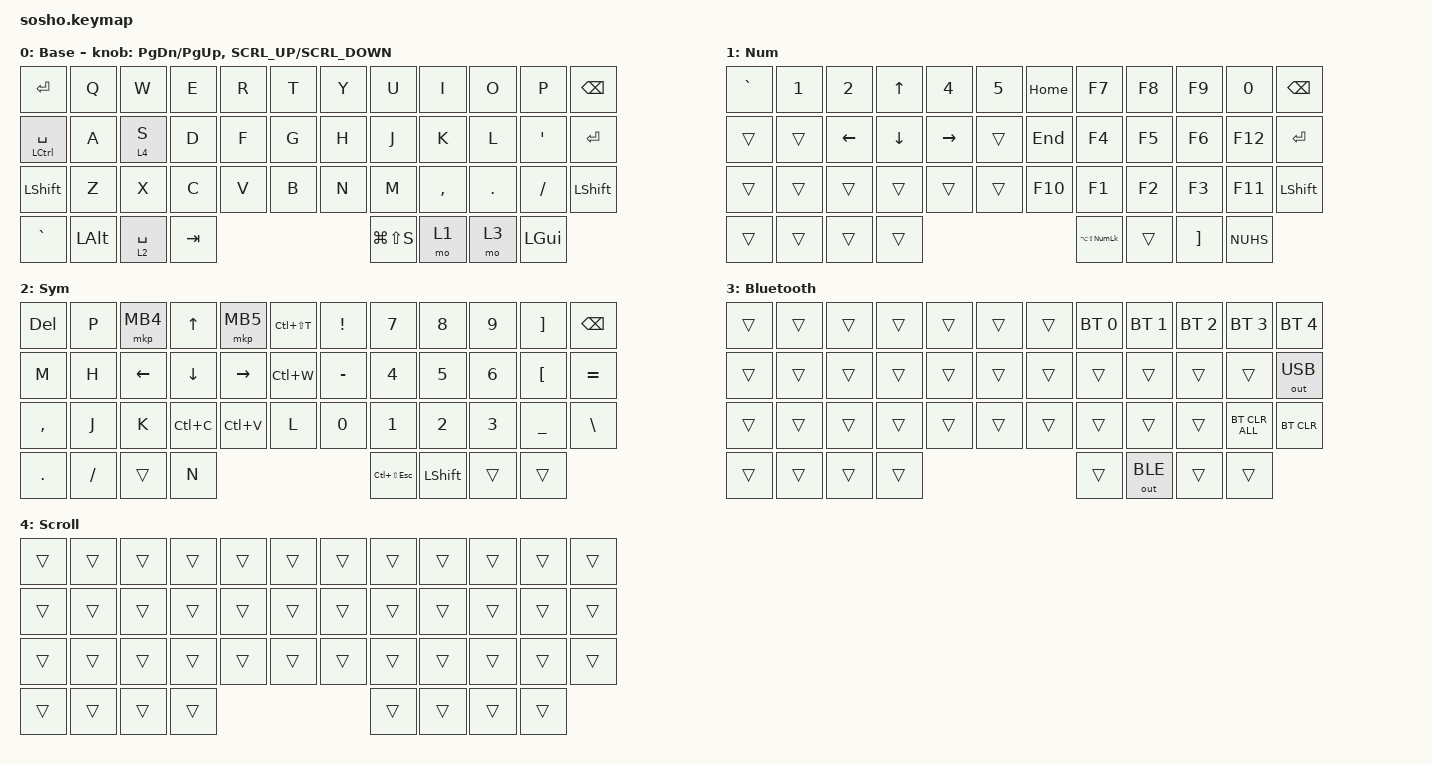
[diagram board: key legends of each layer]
//スクロール量の調整(デフォルト150)
#define ZMK_POINTING_DEFAULT_SCRL_VAL 150
#define SCROLL 4

#include <behaviors.dtsi>
#include <dt-bindings/zmk/bt.h>
#include <dt-bindings/zmk/keys.h>
#include <dt-bindings/zmk/pointing.h>
#include <dt-bindings/zmk/outputs.h>
#include <dt-bindings/zmk/mouse.h>
#include <input/processors.dtsi>

/ {
    behaviors {
        //エンコーダにスクロールを割り当てるためのビヘイビア
        msc_ec_l: sensor_rotation_scroll_L {
            compatible = "zmk,behavior-sensor-rotate-var";
            #sensor-binding-cells = <2>;
            bindings = <&msc>, <&msc>;
            tap-ms = <20>;
        };
        msc_ec_r: sensor_rotation_scroll_R {
            compatible = "zmk,behavior-sensor-rotate-var";
            #sensor-binding-cells = <2>;
            bindings = <&msc>, <&msc>;
            tap-ms = <20>;
        };
    };
};

//スクロールの調整
&msc {
    time-to-max-speed-ms = <0>;   // 即座に最大速度（加速なし）
    acceleration-exponent = <0>;   // 加速なし
};

/ {
    combos {
        compatible = "zmk,combos";
        // prioritize-longer-keys; // ZMKの標準機能にはない記述のため、エラー防止でコメントアウトしています

        //左クリックのコンボ 19 J 20 K
        combo_LCLK_1 {
            timeout-ms = <50>;
            key-positions = <19 20>;
            bindings = <&mkp LCLK>;
        };

        //左クリックのコンボ 15 D 16 F
        combo_LCLK_2 {
            timeout-ms = <50>;
            key-positions = <15 16>;
            bindings = <&mkp LCLK>;
        };

        //右クリックのコンボ 20 K 21 L
        combo_RCLK_1 {
            timeout-ms = <50>;
            key-positions = <20 21>;
            bindings = <&mkp RCLK>;
        };

        //右クリックのコンボ 14 S 15 F
        combo_RCLK_2 {
            timeout-ms = <50>;
            key-positions = <14 15>;
            bindings = <&mkp RCLK>;
        };

        //ホイールクリックのコンボ 19 J 21 L
        combo_MCLK_1 {
            timeout-ms = <90>;
            key-positions = <19 21>;
            bindings = <&mkp MCLK>;
        };

        //ホイールクリックのコンボ 14 S 16 F
        combo_MCLK_2 {
            timeout-ms = <90>;
            key-positions = <14 16>;
            bindings = <&mkp MCLK>;
        };
        
        // 3番と4番のキー同時押しで「Y」を入力するコンボ
        combo_Y {
            timeout-ms = <90>;
            key-positions = <3 4>;
            bindings = <&kp Y>;
        };

        // 27番と28番のキー同時押しで「U」を入力するコンボ
        combo_U {
            timeout-ms = <90>;
            key-positions = <27 28>;
            bindings = <&kp U>;
        };

        // 2番と4番のキー同時押しで「I」を入力するコンボ
        combo_I {
            timeout-ms = <90>;
            key-positions = <2 4>;
            bindings = <&kp I>;
        };

        // 26番と28番のキー同時押しで「O」を入力するコンボ
        combo_O {
            timeout-ms = <90>;
            key-positions = <26 28>;
            bindings = <&kp O>;
        };

        // 2番と3番のキー同時押しで「0」を入力するコンボ
        combo_0 {
            timeout-ms = <90>;
            key-positions = <2 3>;
            bindings = <&kp N0>;
        };
          // 26番と27番のキー同時押しで「1」を入力するコンボ
        combo_1 {
            timeout-ms = <90>;
            key-positions = <26 27>;
            bindings = <&kp N1>;
        };
        // 25番と26番のキー同時押しで「2」を入力するコンボ
        combo_2 {
            timeout-ms = <90>;
            key-positions = <25 26>;
            bindings = <&kp N2>;
        };



        //作ったけど消した。ポインティングデバイスをスクロールにしたい人向け
        //31 M 32 ,
        combo_SCROLL {
            timeout-ms = <50>;
            key-positions = <31 32>;
            bindings = <&mo 4>;
        };
    };
};

/ {
    keymap {
        compatible = "zmk,keymap";

        default_layer {
            display-name = "Base"; // ← ★ここに追加！
            bindings = <
                &kp ENTER    &kp Q   &kp W  &kp E  &kp R  &kp T        &kp Y  &kp U  &kp I      &kp O    &kp P     &kp BSPC
                &mt LCTRL SPACE  &kp A  &lt 4 S &kp D  &kp F &kp G     &kp H  &kp J  &kp K      &kp L    &kp SQT   &kp ENTER
                &kp LSHFT  &kp Z   &kp X  &kp C  &kp V  &kp B          &kp N  &kp M  &kp COMMA  &kp DOT  &kp SLASH &kp LSHFT
                &kp GRAVE  &kp LALT     &lt 2 SPACE  &kp TAB           &kp LG(LS(S)) &mo 1      &mo 3     &kp LGUI
            >;
            //&msc_ec_lとrは、上のビヘイビアで作ったもの。
            sensor-bindings = <&inc_dec_kp PAGE_DOWN PAGE_UP &msc_ec_r SCRL_UP SCRL_DOWN>;
        };
    
        layer_1 {
            display-name = "Num"; // ← ★ここに追加！（数字・移動レイヤー）
            bindings = <
                &kp GRAVE &kp N1  &kp N2  &kp UP  &kp N4  &kp N5       &kp HOME   &kp F7  &kp F8  &kp F9  &kp N0 &kp BSPC
                &trans  &trans &kp LEFT &kp DOWN &kp RIGHT &trans      &kp END    &kp F4  &kp F5  &kp F6   &kp F12 &kp ENTER
                &trans    &trans &trans &trans &trans &trans           &kp  F10   &kp F1  &kp F2  &kp F3   &kp F11 &kp LSHFT
                &trans    &trans               &trans &trans           &kp LA(LS(KP_NLCK))    &trans       &kp RBKT &kp NUHS
            >;
        };

        layer_2 {
            display-name = "Sym"; // ← ★ここに追加！（記号・マクロレイヤー）
            bindings = <
                &kp DEL &kp P  &mkp MB4 &kp UP &mkp MB5 &kp LC(LS(T))    &kp EXCL  &kp N7  &kp N8  &kp N9 &kp RBKT   &kp BSPC
                &kp M &kp H  &kp LEFT &kp DOWN &kp RIGHT &kp LC(W)       &kp MINUS &kp N4  &kp N5  &kp N6  &kp LBKT  &kp EQUAL
                &kp COMMA &kp J &kp K &kp LC(C) &kp LC(V) &kp L          &kp N0    &kp N1  &kp N2  &kp N3  &kp UNDER &kp BSLH
                &kp DOT &kp SLASH                  &trans  &kp N         &kp LC(LS(ESC))  &kp LSHFT         &trans     &trans
            >;
        };

        layer_3 {
            display-name = "Bluetooth"; // ← ★ここに追加！（システム・Bluetoothレイヤー）
            bindings = <
                &trans &trans &trans &trans &trans &trans      &trans  &bt BT_SEL 0  &bt BT_SEL 1  &bt BT_SEL 2  &bt BT_SEL 3   &bt BT_SEL 4
                &trans &trans &trans &trans &trans &trans      &trans  &trans        &trans        &trans        &trans         &out OUT_USB
                &trans &trans &trans &trans &trans &trans      &trans  &trans        &trans        &trans        &bt BT_CLR_ALL &bt BT_CLR
                &trans &trans               &trans &trans      &trans  &out OUT_BLE                              &trans         &trans
            >;
        };
        // 修正箇所①：reservedを消して、すべて&trans（元のキーをそのまま通す）にする
        scroll {
            display-name = "Scroll"; // ← ★ここに追加！（スクロールレイヤー）
            bindings = <
                &trans &trans &trans &trans &trans &trans      &trans &trans &trans &trans &trans &trans
                &trans &trans &trans &trans &trans &trans      &trans &trans &trans &trans &trans &trans
                &trans &trans &trans &trans &trans &trans      &trans &trans &trans &trans &trans &trans
                &trans &trans               &trans &trans      &trans &trans               &trans &trans
            >;
        };

   extra2 {
            status = "reserved";
        };
    }; // ← ★これが keymap を閉じる括弧です！
}; // ← ★これが一番上の / (ルート) を閉じる括弧です！

// 括弧がすべて閉じた後の、本当に一番下に追記します
&trackball_listener {
    scroller {
        layers = <4>;
        // 移動をスクロールに変換した後、速度を「1/2」にスケーリングする
        input-processors = <&zip_xy_to_scroll_mapper &zip_scroll_scaler 1 8>;
    };
};

&trackball_split_listener {
    scroller {
        layers = <4>;
        input-processors = <&zip_xy_to_scroll_mapper &zip_scroll_scaler 1 8>;
    };
};
